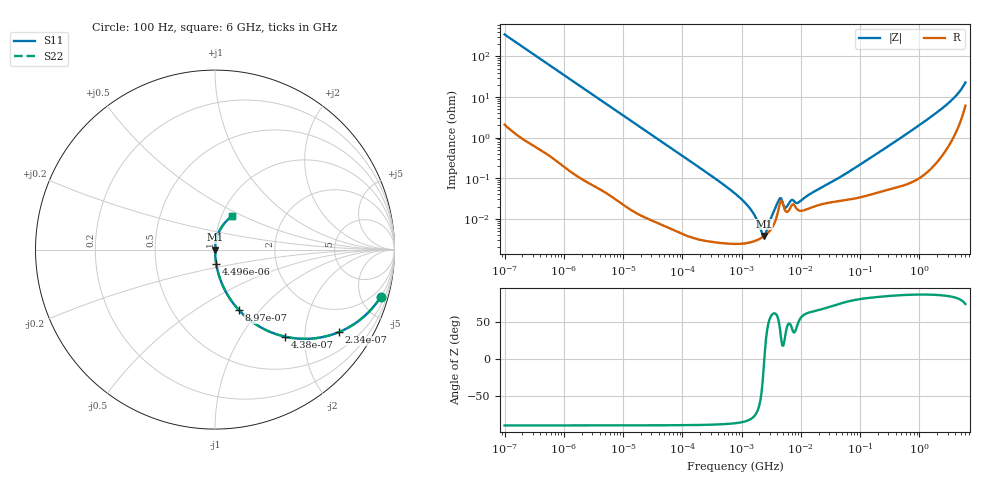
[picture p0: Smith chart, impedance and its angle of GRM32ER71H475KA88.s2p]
!Murata Part Number: GRM32ER71H475KA88
!These Parameters are Measured in Series Mode Connection
!Data Generated on Mar 30, 2021
!  o--ll--o
!Port1  Port2
!  o------o
!Operation Temp=25[degC], DC Bias Voltage=0[V]
!Freq. Start=100[Hz] Stop=6[GHz] 401[Steps]
# Hz S RI R 50
!Freq.(Hz) S11(Real) S11(Imag) S21(Real) S21(Imag) S12(Real) S12(Imag) S22(Real) S22(Imag)
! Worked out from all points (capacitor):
!   401 points, 100 Hz to 6 GHz, reference 50 ohm
!   read as one part in series: C = 4.56 uF near 109 Hz
!   lowest |Z| = 3.76 mohm at 2.373 MHz (marker M1)
!   series resonance near 2.423 MHz, so ESL is about 950 pH
!   S11 on the Smith chart (normalised r, x): 100 Hz: 1.04, -6.97; 234 Hz: 1.02, -2.98; 438 Hz: 1.01, -1.60; 897 Hz: 1.00, -0.78; 4.496 kHz: 1.00, -0.16; 6 GHz: 1.12, +0.44
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100  0.9226 -0.2643  0.0774 0.2643  0.0774 0.2643  0.9226 -0.2643
234  0.689 -0.4602  0.311 0.4602  0.311 0.4602  0.689 -0.4602
438  0.3901 -0.4849  0.6099 0.4849  0.6099 0.4849  0.3901 -0.4849
897  0.1342 -0.3381  0.8658 0.3381  0.8658 0.3381  0.1342 -0.3381
2008  0.0306 -0.1697  0.9694 0.1697  0.9694 0.1697  0.0306 -0.1697
4496  0.0066 -0.0779  0.9934 0.0779  0.9934 0.0779  0.0066 -0.0779
40335  0.000154 -0.00881  0.9998 0.00881  0.9998 0.00881  0.000154 -0.00881
774597  2.42e-05 -0.000419  1 0.000419  1 0.000419  2.42e-05 -0.000419
1212075  2.52e-05 -0.000226  1 0.000226  1 0.000226  2.52e-05 -0.000226
1813585  2.97e-05 -9.03e-05  1 9.03e-05  1 9.03e-05  2.97e-05 -9.03e-05
2372521  3.7e-05 -6.6e-06  1 6.6e-06  1 6.6e-06  3.7e-05 -6.6e-06
3103719  5.41e-05 8.47e-05  0.9999 -8.47e-05  0.9999 -8.47e-05  5.41e-05 8.47e-05
4440638  0.000243 0.000211  0.9998 -0.000211  0.9998 -0.000211  0.000243 0.000211
5554849  0.000152 0.000108  0.9998 -0.000108  0.9998 -0.000108  0.000152 0.000108
6948629  0.00021 0.000199  0.9998 -0.000199  0.9998 -0.000199  0.00021 0.000199
9090158  0.000163 0.000191  0.9998 -0.000191  0.9998 -0.000191  0.000163 0.000191
1.555665e7  0.000193 0.000395  0.9998 -0.000395  0.9998 -0.000395  0.000193 0.000395
5.211241e7  0.000284 0.00115  0.9997 -0.00115  0.9997 -0.00115  0.000284 0.00115
3.124326e8  0.00057 0.00638  0.9994 -0.00638  0.9994 -0.00638  0.00057 0.00638
2.450438e9  0.00639 0.0525  0.9936 -0.0525  0.9936 -0.0525  0.00639 0.0525
4.009986e9  0.0216 0.0975  0.9784 -0.0975  0.9784 -0.0975  0.0216 0.0975
6e9  0.0967 0.1873  0.9033 -0.1873  0.9033 -0.1873  0.0967 0.1873
